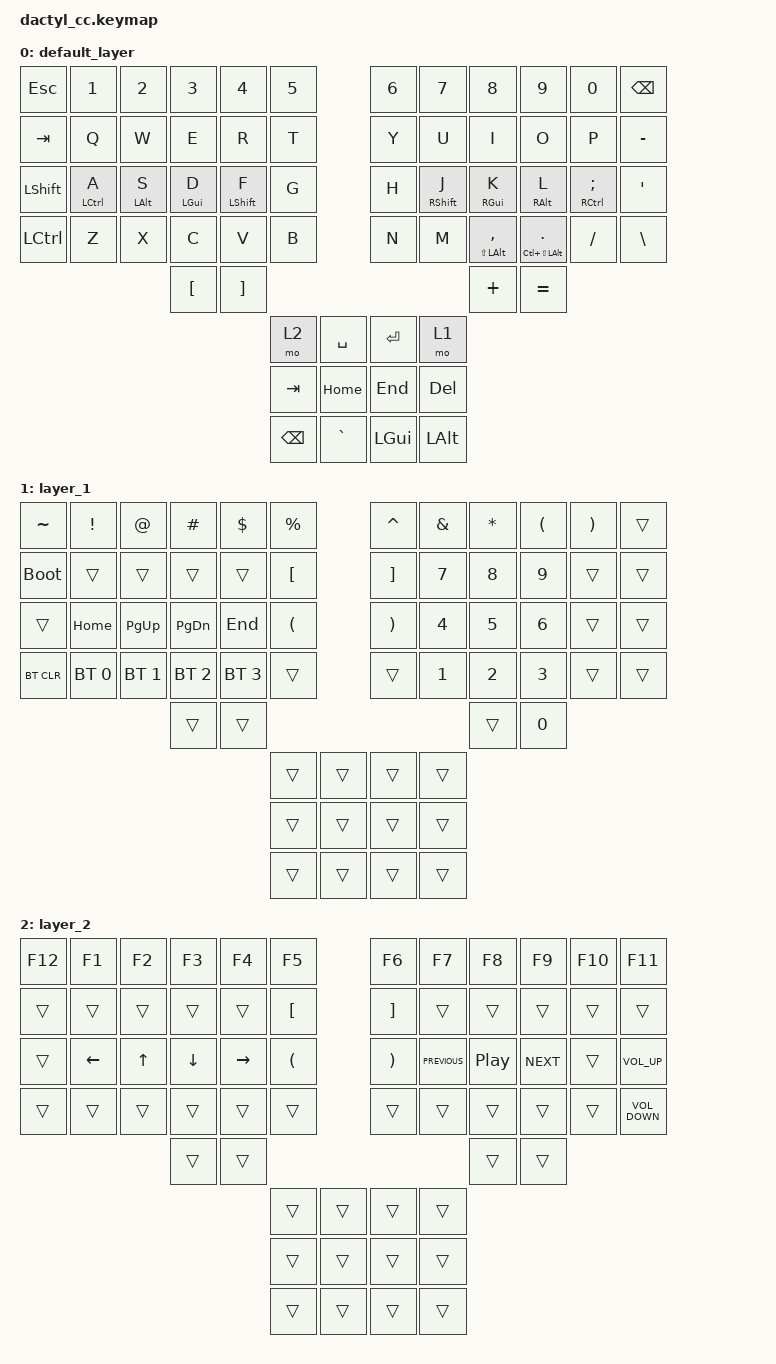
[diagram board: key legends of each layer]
#include <behaviors.dtsi>
#include <dt-bindings/zmk/bt.h>
#include <dt-bindings/zmk/keys.h>

#define DEFAULT 0
#define MAC     1
#define LOWER   2
#define RAISE   3
#define ADJUST  4

#define HYPER(key) LS(LC(LA(LG(key))))
#define MEH(key)   LS(LC(LA(key)))

&sl { release-after-ms = <5000>; };

&kscan0 {
    debounce-press-ms = <30>;
    debounce-release-ms = <30>;
};

&mt {
    flavor = "tap-preferred";
    quick-tap-ms = <200>;
};

/ {
    keymap {
        compatible = "zmk,keymap";

        default_layer {
            bindings = <
&kp ESC         &kp N1              &kp N2          &kp N3            &kp N4             &kp N5                                 &kp N6        &kp N7             &kp N8                  &kp N9                    &kp N0               &kp BACKSPACE
&kp TAB         &kp Q               &kp W           &kp E             &kp R              &kp T                                  &kp Y         &kp U              &kp I                   &kp O                     &kp P                &kp MINUS
&kp LEFT_SHIFT  &mt LEFT_CONTROL A  &mt LEFT_ALT S  &mt LEFT_GUI D    &mt LEFT_SHIFT F   &kp G                                  &kp H         &mt RIGHT_SHIFT J  &mt RIGHT_GUI K         &mt RIGHT_ALT L           &mt RCTRL SEMICOLON  &kp SQT
&kp LCTRL       &kp Z               &kp X           &kp C             &kp V              &kp B                                  &kp N         &kp M              &mt LS(LEFT_ALT) COMMA  &mt LC(LS(LEFT_ALT)) DOT  &kp FSLH             &kp BACKSLASH
                                                    &kp LEFT_BRACKET  &kp RIGHT_BRACKET                                                                          &kp PLUS                &kp EQUAL
                                                                                         &mo 2          &kp SPACE    &kp ENTER  &mo 1
                                                                                         &kp TAB        &kp HOME     &kp END    &kp DEL
                                                                                         &kp BACKSPACE  &kp GRAVE    &kp LGUI   &kp LEFT_ALT
            >;
        };

        layer_1 {
            bindings = <
&kp TILDE    &kp EXCLAMATION  &kp AT_SIGN   &kp HASH       &kp DOLLAR    &kp PERCENT                             &kp CARET              &kp AMPS      &kp ASTERISK  &kp LEFT_PARENTHESIS  &kp RIGHT_PARENTHESIS  &trans
&bootloader  &trans           &trans        &trans         &trans        &kp LEFT_BRACKET                        &kp RIGHT_BRACKET      &kp N7        &kp N8        &kp N9                &trans                 &trans
&trans       &kp HOME         &kp PAGE_UP   &kp PAGE_DOWN  &kp END       &kp LEFT_PARENTHESIS                    &kp RIGHT_PARENTHESIS  &kp NUMBER_4  &kp N5        &kp NUMBER_6          &trans                 &trans
&bt BT_CLR   &bt BT_SEL 0     &bt BT_SEL 1  &bt BT_SEL 2   &bt BT_SEL 3  &trans                                  &trans                 &kp NUMBER_1  &kp NUMBER_2  &kp NUMBER_3          &trans                 &trans
                                            &trans         &trans                                                                                     &trans        &kp N0
                                                                         &trans                &trans    &trans  &trans
                                                                         &trans                &trans    &trans  &trans
                                                                         &trans                &trans    &trans  &trans
            >;
        };

        layer_2 {
            bindings = <
&kp F12  &kp F1          &kp F2        &kp F3    &kp F4     &kp F5                                  &kp F6                 &kp F7          &kp F8            &kp F9      &kp F10  &kp F11
&trans   &trans          &trans        &trans    &trans     &kp LEFT_BRACKET                        &kp RIGHT_BRACKET      &trans          &trans            &trans      &trans   &trans
&trans   &kp LEFT_ARROW  &kp UP_ARROW  &kp DOWN  &kp RIGHT  &kp LEFT_PARENTHESIS                    &kp RIGHT_PARENTHESIS  &kp C_PREVIOUS  &kp C_PLAY_PAUSE  &kp C_NEXT  &trans   &kp C_VOLUME_UP
&trans   &trans          &trans        &trans    &trans     &trans                                  &trans                 &trans          &trans            &trans      &trans   &kp K_VOLUME_DOWN
                                       &trans    &trans                                                                                    &trans            &trans
                                                            &trans                &trans    &trans  &trans
                                                            &trans                &trans    &trans  &trans
                                                            &trans                &trans    &trans  &trans
            >;
        };
    };
};
